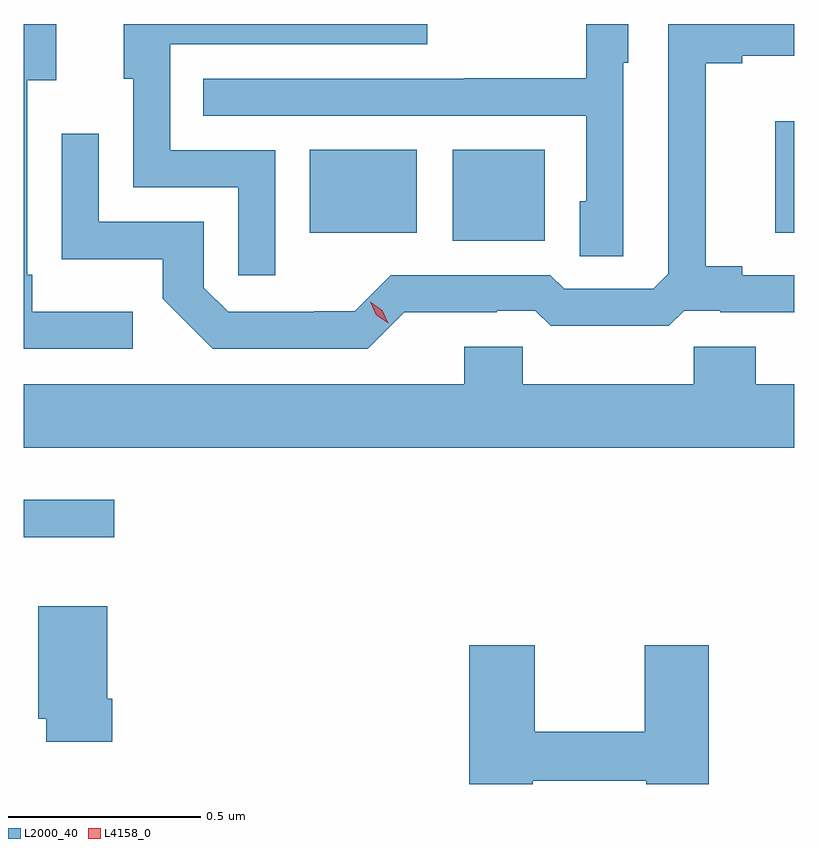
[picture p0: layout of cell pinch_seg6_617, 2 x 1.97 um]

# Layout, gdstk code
import gdstk
lib = gdstk.Library(unit=1e-6, precision=1e-09)
def R(c, l, rs):  # rectangles x0, y0, x1, y1
    for r in rs: c.add(gdstk.rectangle(r[:2], r[2:], *l))
def P(c, l, *ps):  # polygons
    for p in ps: c.add(gdstk.Polygon(p, *l))
L2000_40 = (2000, 40)
L4158_0 = (4158, 0)

pinch_seg6_617 = lib.new_cell('pinch_seg6_617')
R(pinch_seg6_617, L2000_40, [(399.496,969.747,399.73,969.844), (400.61,970.517,400.849,970.753), (400.238,970.538,400.516,970.753), (401.447,970.538,401.496,970.828)])
P(pinch_seg6_617, L2000_40, [(400.149,970.752),(399.876,970.752),(399.876,971.028),(400.543,971.028),(400.543,971.08),(399.755,971.08),(399.755,970.938),(399.78,970.938),(399.78,970.656),(400.053,970.656),(400.053,970.428),(400.149,970.428)],
  [(401.052,970.98),(401.065,970.98),(401.065,971.08),(400.956,971.08),(400.956,970.939),(400.639,970.939),(400.639,970.938),(399.961,970.938),(399.961,970.842),(400.956,970.842),(400.956,970.62),(400.94,970.62),(400.94,970.477),(401.052,970.477)],
  [(399.778,970.333),(399.517,970.333),(399.517,970.429),(399.504,970.429),(399.504,970.934),(399.58,970.934),(399.58,971.08),(399.496,971.08),(399.496,970.236),(399.778,970.236)],
  [(400.484,970.331),(400.724,970.331),(400.724,970.335),(400.824,970.335),(400.864,970.296),(401.171,970.296),(401.211,970.335),(401.305,970.335),(401.305,970.331),(401.496,970.331),(401.496,970.428),(401.362,970.428),(401.362,970.451),(401.267,970.451),(401.267,970.978),(401.362,970.978),(401.362,970.998),(401.496,970.998),(401.496,971.08),(401.169,971.08),(401.169,970.431),(401.13,970.392),(400.899,970.392),(400.863,970.428),(400.449,970.428),(400.355,970.334),(400.25,970.334),(400.25,970.332),(400.026,970.332),(399.963,970.395),(399.963,970.566),(399.69,970.566),(399.69,970.795),(399.594,970.795),(399.594,970.469),(399.856,970.469),(399.856,970.367),(399.986,970.236),(400.389,970.236)],
  [(401.496,970.144),(401.396,970.144),(401.396,970.242),(401.236,970.242),(401.236,970.144),(400.791,970.144),(400.791,970.242),(400.64,970.242),(400.64,970.144),(399.496,970.144),(399.496,969.98),(401.496,969.98)],
  [(399.725,969.328),(399.712,969.328),(399.712,969.568),(399.533,969.568),(399.533,969.276),(399.554,969.276),(399.554,969.216),(399.725,969.216)],
  [(400.818,969.114),(401.112,969.114),(401.112,969.106),(401.274,969.106),(401.274,969.466),(401.108,969.466),(401.108,969.242),(400.822,969.242),(400.822,969.466),(400.652,969.466),(400.652,969.106),(400.818,969.106)])
P(pinch_seg6_617, L4158_0, [(400.442,970.303),(400.411,970.324),(400.396,970.358),(400.396,970.358),(400.396,970.358),(400.427,970.337),(400.442,970.303),(400.442,970.303)])

lib.write_gds('pinch_seg6_617.gds')
